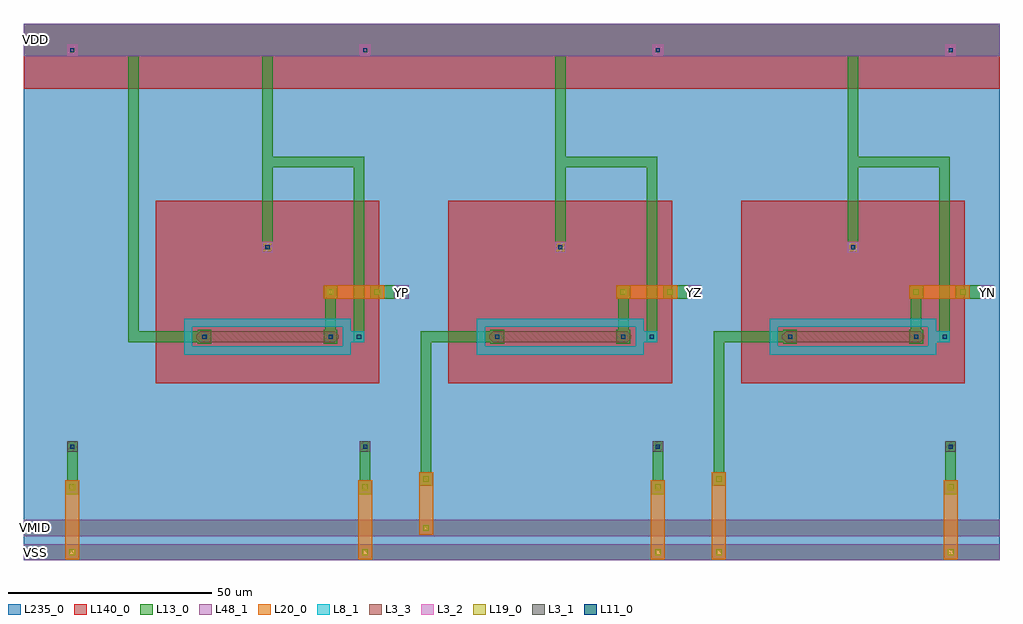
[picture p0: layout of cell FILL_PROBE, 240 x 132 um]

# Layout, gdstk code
import gdstk
lib = gdstk.Library(unit=1e-6, precision=1e-09)
def R(c, l, rs):  # rectangles x0, y0, x1, y1
    for r in rs: c.add(gdstk.rectangle(r[:2], r[2:], *l))
def P(c, l, *ps):  # polygons
    for p in ps: c.add(gdstk.Polygon(p, *l))
L3_1 = (3, 1)
L3_2 = (3, 2)
L3_3 = (3, 3)
L8_1 = (8, 1)
L11_0 = (11, 0)
L13_0 = (13, 0)
L19_0 = (19, 0)
L20_0 = (20, 0)
L48_1 = (48, 1)
L140_0 = (140, 0)
L235_0 = (235, 0)

cont_n__fill = lib.new_cell('cont_n__FILL')
R(cont_n__fill, L3_2, [(-1.3,-1.3,1.3,1.3)])
R(cont_n__fill, L11_0, [(-0.5,-0.5,0.5,0.5)])
R(cont_n__fill, L13_0, [(-1.3,-1.3,1.3,1.3)])

cont_p__fill = lib.new_cell('cont_p__FILL')
R(cont_p__fill, L3_1, [(-1.3,-1.3,1.3,1.3)])
R(cont_p__fill, L11_0, [(-0.5,-0.5,0.5,0.5)])
R(cont_p__fill, L13_0, [(-1.3,-1.3,1.3,1.3)])

via_1__fill = lib.new_cell('via_1__FILL')
R(via_1__fill, L13_0, [(-1.7,-1.7,1.7,1.7)])
R(via_1__fill, L19_0, [(-0.7,-0.7,0.7,0.7)])
R(via_1__fill, L20_0, [(-1.7,-1.7,1.7,1.7)])

fill = lib.new_cell('FILL')
R(fill, L13_0, [(0,0,24,4), (0,6,24,10), (10.7,16.7,13.3,29.3), (0,124,24,132), (10.7,124.2,13.3,129.3)])
R(fill, L20_0, [(10.3,0.3,13.7,19.7)])
R(fill, L48_1, [(0,0,24,4), (0,6,24,10), (0,124,24,132)])
R(fill, L140_0, [(0,116,24,132)])
R(fill, L235_0, [(0,0,24,132)])
fill.add(gdstk.Reference(cont_n__fill, (12,125.5)))
fill.add(gdstk.Reference(cont_p__fill, (12,28)))
fill.add(gdstk.Reference(via_1__fill, (12,18)))
fill.add(gdstk.Reference(via_1__fill, (12,2)))
fill.add(gdstk.Label('VDD', (3,128), layer=48, texttype=0))
fill.add(gdstk.Label('VMID', (3,8), layer=48, texttype=0))
fill.add(gdstk.Label('VSS', (3,2), layer=48, texttype=0))

res_diff__tiep = lib.new_cell('res_diff__TIEP')
P(res_diff__tiep, L3_3, [(-16.5,-1.4),(-17.5,-0.4),(-17.5,0.4),(-16.5,1.4),(16.5,1.4),(17.5,0.4),(17.5,-0.4),(16.5,-1.4)])
P(res_diff__tiep, L8_1, [(-20.5,-4.4),(-20.5,2.4),(-18.5,2.4),(-18.5,-2.4),(18.5,-2.4),(18.5,2.4),(-20.5,2.4),(-20.5,4.4),(20.5,4.4),(20.5,-4.4)])
R(res_diff__tiep, L11_0, [(-16,-0.5,-15,0.5), (15,-0.5,16,0.5)])
R(res_diff__tiep, L13_0, [(-17.2,-1.7,-13.8,1.7), (13.8,-1.7,17.2,1.7)])

cont_n__tiep = lib.new_cell('cont_n__TIEP')
R(cont_n__tiep, L3_2, [(-1.3,-1.3,1.3,1.3)])
R(cont_n__tiep, L11_0, [(-0.5,-0.5,0.5,0.5)])
R(cont_n__tiep, L13_0, [(-1.3,-1.3,1.3,1.3)])

cont_g__tiep = lib.new_cell('cont_g__TIEP')
R(cont_g__tiep, L8_1, [(-1.3,-1.3,1.3,1.3)])
R(cont_g__tiep, L11_0, [(-0.5,-0.5,0.5,0.5)])
R(cont_g__tiep, L13_0, [(-1.3,-1.3,1.3,1.3)])

via_1__tiep = lib.new_cell('via_1__TIEP')
R(via_1__tiep, L13_0, [(-1.7,-1.7,1.7,1.7)])
R(via_1__tiep, L19_0, [(-0.7,-0.7,0.7,0.7)])
R(via_1__tiep, L20_0, [(-1.7,-1.7,1.7,1.7)])

cont_p__tiep = lib.new_cell('cont_p__TIEP')
R(cont_p__tiep, L3_1, [(-1.3,-1.3,1.3,1.3)])
R(cont_p__tiep, L11_0, [(-0.5,-0.5,0.5,0.5)])
R(cont_p__tiep, L13_0, [(-1.3,-1.3,1.3,1.3)])

tiep = lib.new_cell('TIEP')
R(tiep, L8_1, [(55.2,53.7,59.8,56.3)])
R(tiep, L13_0, [(0,0,72,4), (0,6,72,10), (58.7,16.7,61.3,29.3), (1.7,53.7,21.8,56.3), (1.7,53.7,4.3,129.3), (50.2,53.7,52.8,67.3), (57.2,53.7,59.8,99.3), (61.3,64.3,70.7,67.7), (67.3,64.3,70.7,67.7), (34.7,75.7,37.3,99.3), (34.7,96.7,59.8,99.3), (34.7,96.7,37.3,129.3), (0,124,72,132), (58.7,124.2,61.3,129.3)])
R(tiep, L20_0, [(58.3,0.3,61.7,19.7), (49.8,64.3,64.7,67.7)])
R(tiep, L48_1, [(0,0,72,4), (0,6,72,10), (67.3,64.3,70.7,67.7), (0,124,72,132)])
R(tiep, L140_0, [(8.5,43.6,63.5,88.4), (0,116,72,132)])
R(tiep, L235_0, [(0,0,72,132)])
tiep.add(gdstk.Reference(res_diff__tiep, (36,55)))
tiep.add(gdstk.Reference(cont_n__tiep, (36,77)))
tiep.add(gdstk.Reference(cont_g__tiep, (58.5,55)))
tiep.add(gdstk.Reference(via_1__tiep, (51.5,66)))
tiep.add(gdstk.Reference(via_1__tiep, (63,66)))
tiep.add(gdstk.Reference(cont_n__tiep, (60,125.5)))
tiep.add(gdstk.Reference(cont_p__tiep, (60,28)))
tiep.add(gdstk.Reference(via_1__tiep, (60,18)))
tiep.add(gdstk.Reference(via_1__tiep, (60,2)))
tiep.add(gdstk.Label('Y', (69,66), layer=48, texttype=0))
tiep.add(gdstk.Label('VDD', (3,128), layer=48, texttype=0))
tiep.add(gdstk.Label('VMID', (3,8), layer=48, texttype=0))
tiep.add(gdstk.Label('VSS', (3,2), layer=48, texttype=0))

res_diff__tiez = lib.new_cell('res_diff__TIEZ')
P(res_diff__tiez, L3_3, [(-16.5,-1.4),(-17.5,-0.4),(-17.5,0.4),(-16.5,1.4),(16.5,1.4),(17.5,0.4),(17.5,-0.4),(16.5,-1.4)])
P(res_diff__tiez, L8_1, [(-20.5,-4.4),(-20.5,2.4),(-18.5,2.4),(-18.5,-2.4),(18.5,-2.4),(18.5,2.4),(-20.5,2.4),(-20.5,4.4),(20.5,4.4),(20.5,-4.4)])
R(res_diff__tiez, L11_0, [(-16,-0.5,-15,0.5), (15,-0.5,16,0.5)])
R(res_diff__tiez, L13_0, [(-17.2,-1.7,-13.8,1.7), (13.8,-1.7,17.2,1.7)])

cont_n__tiez = lib.new_cell('cont_n__TIEZ')
R(cont_n__tiez, L3_2, [(-1.3,-1.3,1.3,1.3)])
R(cont_n__tiez, L11_0, [(-0.5,-0.5,0.5,0.5)])
R(cont_n__tiez, L13_0, [(-1.3,-1.3,1.3,1.3)])

cont_g__tiez = lib.new_cell('cont_g__TIEZ')
R(cont_g__tiez, L8_1, [(-1.3,-1.3,1.3,1.3)])
R(cont_g__tiez, L11_0, [(-0.5,-0.5,0.5,0.5)])
R(cont_g__tiez, L13_0, [(-1.3,-1.3,1.3,1.3)])

via_1__tiez = lib.new_cell('via_1__TIEZ')
R(via_1__tiez, L13_0, [(-1.7,-1.7,1.7,1.7)])
R(via_1__tiez, L19_0, [(-0.7,-0.7,0.7,0.7)])
R(via_1__tiez, L20_0, [(-1.7,-1.7,1.7,1.7)])

cont_p__tiez = lib.new_cell('cont_p__TIEZ')
R(cont_p__tiez, L3_1, [(-1.3,-1.3,1.3,1.3)])
R(cont_p__tiez, L11_0, [(-0.5,-0.5,0.5,0.5)])
R(cont_p__tiez, L13_0, [(-1.3,-1.3,1.3,1.3)])

tiez = lib.new_cell('TIEZ')
R(tiez, L8_1, [(55.2,53.7,59.8,56.3)])
R(tiez, L13_0, [(0,0,72,4), (0,6,72,10), (58.7,16.7,61.3,29.3), (1.7,18.7,4.3,56.3), (1.7,53.7,21.8,56.3), (50.2,53.7,52.8,67.3), (57.2,53.7,59.8,99.3), (61.3,64.3,70.7,67.7), (67.3,64.3,70.7,67.7), (34.7,75.7,37.3,99.3), (34.7,96.7,59.8,99.3), (34.7,96.7,37.3,129.3), (0,124,72,132), (58.7,124.2,61.3,129.3)])
R(tiez, L20_0, [(58.3,0.3,61.7,19.7), (1.3,6.3,4.7,21.7), (49.8,64.3,64.7,67.7)])
R(tiez, L48_1, [(0,0,72,4), (0,6,72,10), (67.3,64.3,70.7,67.7), (0,124,72,132)])
R(tiez, L140_0, [(8.5,43.6,63.5,88.4), (0,116,72,132)])
R(tiez, L235_0, [(0,0,72,132)])
tiez.add(gdstk.Reference(res_diff__tiez, (36,55)))
tiez.add(gdstk.Reference(cont_n__tiez, (36,77)))
tiez.add(gdstk.Reference(cont_g__tiez, (58.5,55)))
tiez.add(gdstk.Reference(via_1__tiez, (51.5,66)))
tiez.add(gdstk.Reference(via_1__tiez, (63,66)))
tiez.add(gdstk.Reference(via_1__tiez, (3,20)))
tiez.add(gdstk.Reference(via_1__tiez, (3,8)))
tiez.add(gdstk.Reference(cont_n__tiez, (60,125.5)))
tiez.add(gdstk.Reference(cont_p__tiez, (60,28)))
tiez.add(gdstk.Reference(via_1__tiez, (60,18)))
tiez.add(gdstk.Reference(via_1__tiez, (60,2)))
tiez.add(gdstk.Label('Y', (69,66), layer=48, texttype=0))
tiez.add(gdstk.Label('VDD', (3,128), layer=48, texttype=0))
tiez.add(gdstk.Label('VMID', (3,8), layer=48, texttype=0))
tiez.add(gdstk.Label('VSS', (3,2), layer=48, texttype=0))

res_diff__tien = lib.new_cell('res_diff__TIEN')
P(res_diff__tien, L3_3, [(-16.5,-1.4),(-17.5,-0.4),(-17.5,0.4),(-16.5,1.4),(16.5,1.4),(17.5,0.4),(17.5,-0.4),(16.5,-1.4)])
P(res_diff__tien, L8_1, [(-20.5,-4.4),(-20.5,2.4),(-18.5,2.4),(-18.5,-2.4),(18.5,-2.4),(18.5,2.4),(-20.5,2.4),(-20.5,4.4),(20.5,4.4),(20.5,-4.4)])
R(res_diff__tien, L11_0, [(-16,-0.5,-15,0.5), (15,-0.5,16,0.5)])
R(res_diff__tien, L13_0, [(-17.2,-1.7,-13.8,1.7), (13.8,-1.7,17.2,1.7)])

cont_n__tien = lib.new_cell('cont_n__TIEN')
R(cont_n__tien, L3_2, [(-1.3,-1.3,1.3,1.3)])
R(cont_n__tien, L11_0, [(-0.5,-0.5,0.5,0.5)])
R(cont_n__tien, L13_0, [(-1.3,-1.3,1.3,1.3)])

cont_g__tien = lib.new_cell('cont_g__TIEN')
R(cont_g__tien, L8_1, [(-1.3,-1.3,1.3,1.3)])
R(cont_g__tien, L11_0, [(-0.5,-0.5,0.5,0.5)])
R(cont_g__tien, L13_0, [(-1.3,-1.3,1.3,1.3)])

via_1__tien = lib.new_cell('via_1__TIEN')
R(via_1__tien, L13_0, [(-1.7,-1.7,1.7,1.7)])
R(via_1__tien, L19_0, [(-0.7,-0.7,0.7,0.7)])
R(via_1__tien, L20_0, [(-1.7,-1.7,1.7,1.7)])

cont_p__tien = lib.new_cell('cont_p__TIEN')
R(cont_p__tien, L3_1, [(-1.3,-1.3,1.3,1.3)])
R(cont_p__tien, L11_0, [(-0.5,-0.5,0.5,0.5)])
R(cont_p__tien, L13_0, [(-1.3,-1.3,1.3,1.3)])

tien = lib.new_cell('TIEN')
R(tien, L8_1, [(55.2,53.7,59.8,56.3)])
R(tien, L13_0, [(0,0,72,4), (0,6,72,10), (58.7,16.7,61.3,29.3), (1.7,18.7,4.3,56.3), (1.7,53.7,21.8,56.3), (50.2,53.7,52.8,67.3), (57.2,53.7,59.8,99.3), (61.3,64.3,70.7,67.7), (67.3,64.3,70.7,67.7), (34.7,75.7,37.3,99.3), (34.7,96.7,59.8,99.3), (34.7,96.7,37.3,129.3), (0,124,72,132), (58.7,124.2,61.3,129.3)])
R(tien, L20_0, [(1.3,0.3,4.7,21.7), (58.3,0.3,61.7,19.7), (49.8,64.3,64.7,67.7)])
R(tien, L48_1, [(0,0,72,4), (0,6,72,10), (67.3,64.3,70.7,67.7), (0,124,72,132)])
R(tien, L140_0, [(8.5,43.6,63.5,88.4), (0,116,72,132)])
R(tien, L235_0, [(0,0,72,132)])
tien.add(gdstk.Reference(res_diff__tien, (36,55)))
tien.add(gdstk.Reference(cont_n__tien, (36,77)))
tien.add(gdstk.Reference(cont_g__tien, (58.5,55)))
tien.add(gdstk.Reference(via_1__tien, (51.5,66)))
tien.add(gdstk.Reference(via_1__tien, (63,66)))
tien.add(gdstk.Reference(via_1__tien, (3,20)))
tien.add(gdstk.Reference(via_1__tien, (3,2)))
tien.add(gdstk.Reference(cont_n__tien, (60,125.5)))
tien.add(gdstk.Reference(cont_p__tien, (60,28)))
tien.add(gdstk.Reference(via_1__tien, (60,18)))
tien.add(gdstk.Reference(via_1__tien, (60,2)))
tien.add(gdstk.Label('Y', (69,66), layer=48, texttype=0))
tien.add(gdstk.Label('VDD', (3,128), layer=48, texttype=0))
tien.add(gdstk.Label('VMID', (3,8), layer=48, texttype=0))
tien.add(gdstk.Label('VSS', (3,2), layer=48, texttype=0))

fill_probe = lib.new_cell('FILL_PROBE')
fill_probe.add(gdstk.Reference(fill, (0,0)))
fill_probe.add(gdstk.Reference(tiep, (24,0)))
fill_probe.add(gdstk.Reference(tiez, (96,0)))
fill_probe.add(gdstk.Reference(tien, (168,0)))
fill_probe.add(gdstk.Label('YP', (93,66), layer=48, texttype=0))
fill_probe.add(gdstk.Label('YZ', (165,66), layer=48, texttype=0))
fill_probe.add(gdstk.Label('YN', (237,66), layer=48, texttype=0))
fill_probe.add(gdstk.Label('VDD', (3,128), layer=48, texttype=0))
fill_probe.add(gdstk.Label('VMID', (3,8), layer=48, texttype=0))
fill_probe.add(gdstk.Label('VSS', (3,2), layer=48, texttype=0))

lib.write_gds('FILL_PROBE.gds')
